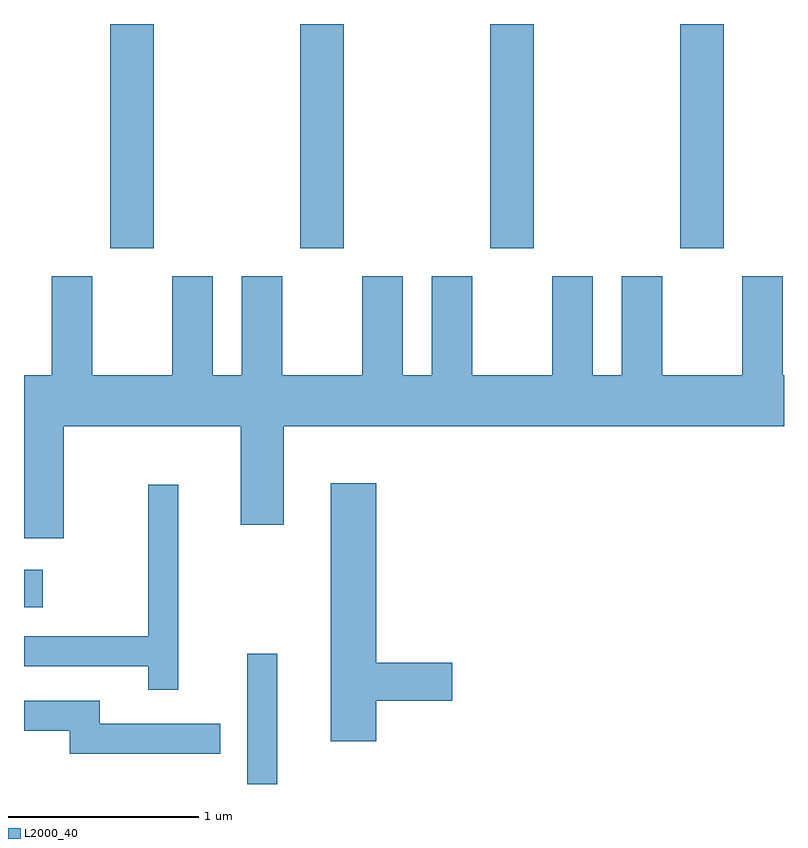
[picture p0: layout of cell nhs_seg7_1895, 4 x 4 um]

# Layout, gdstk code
import gdstk
lib = gdstk.Library(unit=1e-6, precision=1e-09)
def R(c, l, rs):  # rectangles x0, y0, x1, y1
    for r in rs: c.add(gdstk.rectangle(r[:2], r[2:], *l))
def A(c, l, x, y, w, h, nx, ny, dx, dy):  # array of equal rectangles
    R(c, l, [(x+i*dx, y+j*dy, x+i*dx+w, y+j*dy+h) for i in range(nx) for j in range(ny)])
def P(c, l, *ps):  # polygons
    for p in ps: c.add(gdstk.Polygon(p, *l))
L2000_40 = (2000, 40)

nhs_seg7_1895 = lib.new_cell('nhs_seg7_1895')
A(nhs_seg7_1895, L2000_40, 244.066, 1673.071, 0.228, 1.181, 4, 1, 1, 0)
R(nhs_seg7_1895, L2000_40, [(244.786,1670.252,244.944,1670.938), (243.611,1671.181,243.709,1671.379)])
P(nhs_seg7_1895, L2000_40, [(247.611,1672.404),(247.604,1672.404),(247.604,1672.924),(247.391,1672.924),(247.391,1672.404),(246.969,1672.404),(246.969,1672.924),(246.756,1672.924),(246.756,1672.404),(246.604,1672.404),(246.604,1672.924),(246.391,1672.924),(246.391,1672.404),(245.969,1672.404),(245.969,1672.924),(245.756,1672.924),(245.756,1672.404),(245.604,1672.404),(245.604,1672.924),(245.391,1672.924),(245.391,1672.404),(244.969,1672.404),(244.969,1672.924),(244.756,1672.924),(244.756,1672.404),(244.604,1672.404),(244.604,1672.924),(244.391,1672.924),(244.391,1672.404),(243.969,1672.404),(243.969,1672.924),(243.756,1672.924),(243.756,1672.404),(243.611,1672.404),(243.611,1671.546),(243.819,1671.546),(243.819,1672.136),(244.751,1672.136),(244.751,1671.616),(244.979,1671.616),(244.979,1672.136),(247.611,1672.136)],
  [(245.464,1670.691),(245.864,1670.691),(245.864,1670.889),(245.464,1670.889),(245.464,1671.834),(245.226,1671.834),(245.226,1670.476),(245.464,1670.476)],
  [(244.424,1671.828),(244.266,1671.828),(244.266,1671.029),(243.611,1671.029),(243.611,1670.871),(244.266,1670.871),(244.266,1670.748),(244.424,1670.748)],
  [(244.643,1670.569),(244.009,1670.569),(244.009,1670.689),(243.611,1670.689),(243.611,1670.531),(243.851,1670.531),(243.851,1670.411),(244.643,1670.411)])

lib.write_gds('nhs_seg7_1895.gds')
